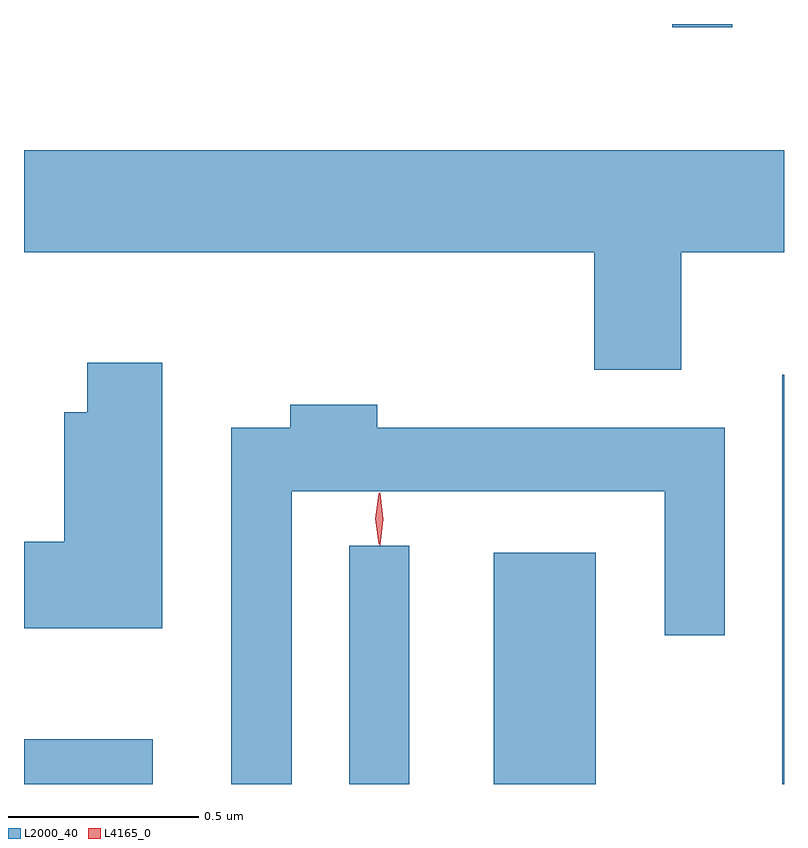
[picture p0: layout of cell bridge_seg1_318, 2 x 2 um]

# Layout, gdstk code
import gdstk
lib = gdstk.Library(unit=1e-6, precision=1e-09)
def R(c, l, rs):  # rectangles x0, y0, x1, y1
    for r in rs: c.add(gdstk.rectangle(r[:2], r[2:], *l))
def P(c, l, *ps):  # polygons
    for p in ps: c.add(gdstk.Polygon(p, *l))
L2000_40 = (2000, 40)
L4165_0 = (4165, 0)

bridge_seg1_318 = lib.new_cell('bridge_seg1_318')
R(bridge_seg1_318, L2000_40, [(840.06,875.976,840.399,876.094), (840.916,875.976,841.074,876.603), (841.296,875.976,841.564,876.584), (842.056,875.976,842.06,877.053), (841.766,877.968,841.924,877.976)])
P(bridge_seg1_318, L2000_40, [(841.789,877.376),(842.06,877.376),(842.06,877.644),(840.06,877.644),(840.06,877.376),(841.561,877.376),(841.561,877.066),(841.789,877.066)],
  [(840.424,877.084),(840.226,877.084),(840.226,876.954),(840.166,876.954),(840.166,876.614),(840.06,876.614),(840.06,876.386),(840.424,876.386)],
  [(840.764,876.746),(841.746,876.746),(841.746,876.368),(841.904,876.368),(841.904,876.914),(840.989,876.914),(840.989,876.974),(840.761,876.974),(840.761,876.914),(840.606,876.914),(840.606,875.976),(840.764,875.976)])
P(bridge_seg1_318, L4165_0, [(840.996,876.604),(840.996,876.604),(840.986,876.673),(840.996,876.743),(840.996,876.743),(840.997,876.743),(841.006,876.673),(840.997,876.604)],
  [(840.994,876.607),(840.994,876.608),(840.984,876.674),(840.994,876.74),(840.994,876.741),(840.995,876.74),(841.004,876.674),(840.995,876.608)])

lib.write_gds('bridge_seg1_318.gds')
